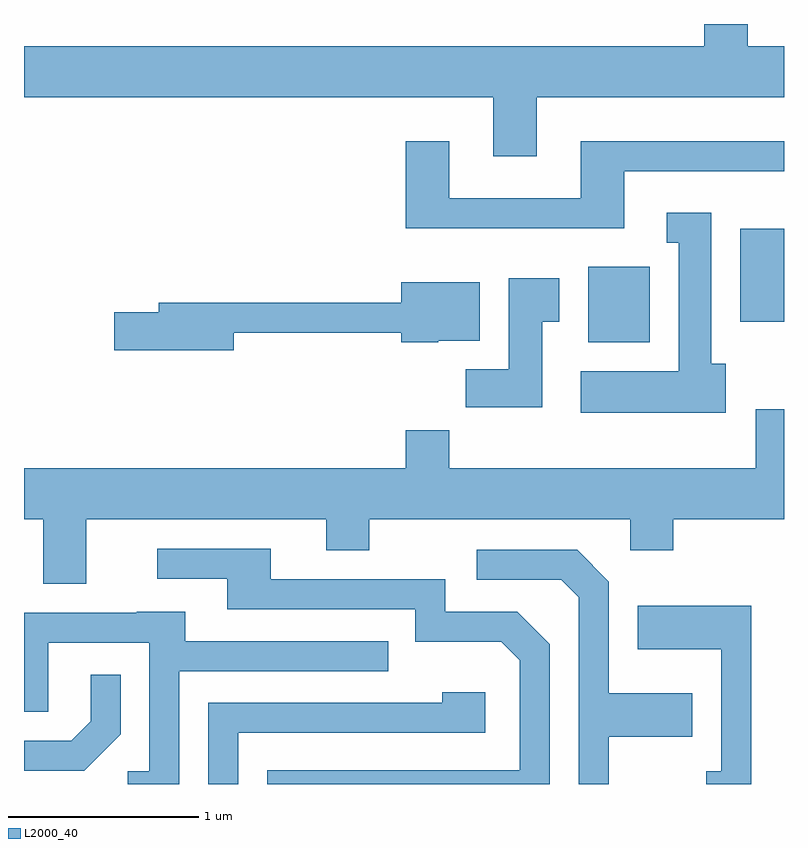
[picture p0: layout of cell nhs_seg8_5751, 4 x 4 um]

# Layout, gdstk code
import gdstk
lib = gdstk.Library(unit=1e-6, precision=1e-09)
def R(c, l, rs):  # rectangles x0, y0, x1, y1
    for r in rs: c.add(gdstk.rectangle(r[:2], r[2:], *l))
def P(c, l, *ps):  # polygons
    for p in ps: c.add(gdstk.Polygon(p, *l))
L2000_40 = (2000, 40)

nhs_seg8_5751 = lib.new_cell('nhs_seg8_5751')
R(nhs_seg8_5751, L2000_40, [(360.581,1850.666,360.904,1851.064), (361.381,1850.776,361.611,1851.264)])
P(nhs_seg8_5751, L2000_40, [(360.309,1851.956),(361.611,1851.956),(361.611,1852.224),(361.419,1852.224),(361.419,1852.342),(361.191,1852.342),(361.191,1852.224),(357.611,1852.224),(357.611,1851.956),(360.081,1851.956),(360.081,1851.646),(360.309,1851.646)],
  [(360.769,1851.566),(361.611,1851.566),(361.611,1851.724),(360.541,1851.724),(360.541,1851.424),(359.849,1851.424),(359.849,1851.724),(359.621,1851.724),(359.621,1851.266),(360.769,1851.266)],
  [(361.304,1850.554),(361.229,1850.554),(361.229,1851.349),(360.993,1851.349),(360.993,1851.191),(361.056,1851.191),(361.056,1850.514),(360.541,1850.514),(360.541,1850.296),(361.304,1850.296)],
  [(360.339,1850.776),(360.429,1850.776),(360.429,1851.004),(360.161,1851.004),(360.161,1850.524),(359.936,1850.524),(359.936,1850.326),(360.339,1850.326)],
  [(358.714,1850.716),(359.596,1850.716),(359.596,1850.666),(359.79,1850.666),(359.79,1850.676),(360.009,1850.676),(360.009,1850.984),(359.596,1850.984),(359.596,1850.874),(358.321,1850.874),(358.321,1850.824),(358.086,1850.824),(358.086,1850.626),(358.714,1850.626)],
  [(357.939,1849.736),(359.201,1849.736),(359.201,1849.571),(359.429,1849.571),(359.429,1849.736),(360.801,1849.736),(360.801,1849.571),(361.029,1849.571),(361.029,1849.736),(361.611,1849.736),(361.611,1850.314),(361.461,1850.314),(361.461,1850.004),(359.849,1850.004),(359.849,1850.204),(359.621,1850.204),(359.621,1850.004),(357.611,1850.004),(357.611,1849.736),(357.711,1849.736),(357.711,1849.396),(357.939,1849.396)],
  [(360.379,1849.077),(360.207,1849.249),(359.829,1849.249),(359.829,1849.419),(358.909,1849.419),(358.909,1849.579),(358.313,1849.579),(358.313,1849.421),(358.681,1849.421),(358.681,1849.261),(359.671,1849.261),(359.671,1849.091),(360.124,1849.091),(360.221,1848.994),(360.221,1848.414),(358.891,1848.414),(358.891,1848.342),(360.379,1848.342)],
  [(360.689,1848.591),(361.129,1848.591),(361.129,1848.819),(360.689,1848.819),(360.689,1849.407),(360.522,1849.574),(359.993,1849.574),(359.993,1849.416),(360.439,1849.416),(360.531,1849.324),(360.531,1848.342),(360.689,1848.342)],
  [(361.439,1849.279),(360.841,1849.279),(360.841,1849.051),(361.281,1849.051),(361.281,1848.409),(361.203,1848.409),(361.203,1848.342),(361.439,1848.342)],
  [(358.429,1848.936),(359.528,1848.936),(359.528,1849.094),(358.459,1849.094),(358.459,1849.249),(358.205,1849.249),(358.205,1849.244),(357.611,1849.244),(357.611,1848.721),(357.739,1848.721),(357.739,1849.086),(358.271,1849.086),(358.271,1848.409),(358.158,1848.409),(358.158,1848.342),(358.429,1848.342)],
  [(358.119,1848.604),(358.119,1848.918),(357.961,1848.918),(357.961,1848.672),(357.859,1848.569),(357.611,1848.569),(357.611,1848.411),(357.927,1848.411)],
  [(358.739,1848.611),(360.039,1848.611),(360.039,1848.824),(359.811,1848.824),(359.811,1848.769),(358.581,1848.769),(358.581,1848.342),(358.739,1848.342)])

lib.write_gds('nhs_seg8_5751.gds')
